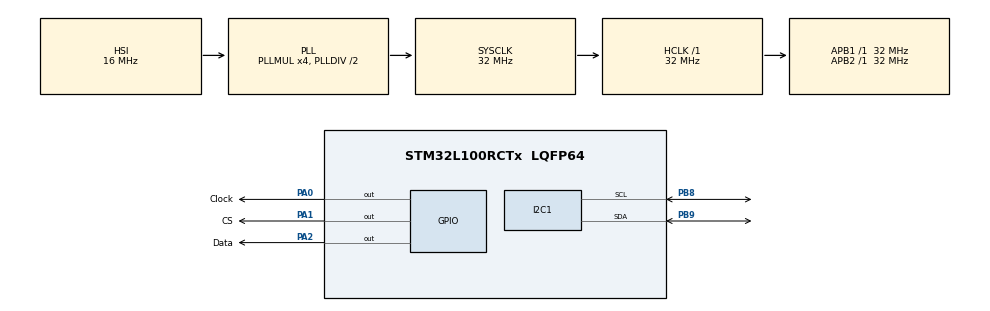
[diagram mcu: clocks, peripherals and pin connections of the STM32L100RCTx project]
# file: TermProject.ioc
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Mcu.Family=STM32L1
Mcu.Name=STM32L100RCTx
Mcu.Package=LQFP64
NVIC.PriorityGroup=NVIC_PRIORITYGROUP_4
PA0-WKUP1.GPIO_Label=Clock
PA0-WKUP1.Signal=GPIO_Output
PA1.GPIO_Label=CS
PA1.Signal=GPIO_Output
PA13.Mode=Serial_Wire
PA13.Signal=SYS_JTMS-SWDIO
PA14.Mode=Serial_Wire
PA14.Signal=SYS_JTCK-SWCLK
PA2.GPIO_Label=Data
PA2.Signal=GPIO_Output
PB8.Mode=I2C
PB8.Signal=I2C1_SCL
PB9.Mode=I2C
PB9.Signal=I2C1_SDA
PH0-OSC_IN.Mode=HSE-External-Oscillator
PH0-OSC_IN.Signal=RCC_OSC_IN
PH1-OSC_OUT.Mode=HSE-External-Oscillator
PH1-OSC_OUT.Signal=RCC_OSC_OUT
ProjectManager.HeapSize=0x200
ProjectManager.StackSize=0x400
ProjectManager.TargetToolchain=MDK-ARM V5.32
RCC.48MHZClocksFreq_Value=32000000
RCC.AHBFreq_Value=32000000
RCC.APB1Freq_Value=32000000
RCC.APB1TimFreq_Value=32000000
RCC.APB2Freq_Value=32000000
RCC.APB2TimFreq_Value=32000000
RCC.HCLKFreq_Value=32000000
RCC.HSE_VALUE=24000000
RCC.HSI_VALUE=16000000
RCC.LSE_VALUE=32768
RCC.MSI_VALUE=2097000
RCC.PLLMUL=RCC_PLL_MUL4
RCC.SYSCLKFreq_VALUE=32000000
RCC.SYSCLKSource=RCC_SYSCLKSOURCE_PLLCLK
RCC.VCOOutputFreq_Value=64000000
board=custom

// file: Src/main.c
/* USER CODE BEGIN Header */
/**
  ******************************************************************************
  * @file           : main.c
  * @brief          : Main program body
  ******************************************************************************
  * @attention
  *
  * Copyright (c) 2022 STMicroelectronics.
  * All rights reserved.
  *
  * This software is licensed under terms that can be found in the LICENSE file
  * in the root directory of this software component.
  * If no LICENSE file comes with this software, it is provided AS-IS.
  *
  ******************************************************************************
  */
/* USER CODE END Header */
#include "main.h"

/* USER CODE BEGIN PM */
void port_yaz(int s){
		GPIOA -> ODR = s;
}
void write_byte(uint8_t byte){
	for(int i =0; i<8; i++){
		HAL_GPIO_WritePin(GPIOA,GPIO_PIN_0,GPIO_PIN_RESET);
		HAL_GPIO_WritePin(GPIOA,GPIO_PIN_2,byte &0x80);
		byte = byte<<1;
		HAL_GPIO_WritePin(GPIOA,GPIO_PIN_0,GPIO_PIN_SET);
	}
}

void write_max(uint8_t address,uint8_t data){
		HAL_GPIO_WritePin(GPIOA,GPIO_PIN_1,GPIO_PIN_RESET);
		write_byte(address);
		write_byte(data);
		HAL_GPIO_WritePin(GPIOA,GPIO_PIN_1,GPIO_PIN_SET);
}
void max_init(void)
{
 write_max(0x09, 0x00);       //  no decoding
 write_max(0x0a, 0x03);       //  brightness intensity
 write_max(0x0b, 0x07);       //  scan limit = 8 LEDs
 write_max(0x0c, 0x01);       //  power down =0,normal mode = 1
 write_max(0x0f, 0x00);       //  no test display
}
/* USER CODE END PM */

I2C_HandleTypeDef hi2c1;

/* USER CODE BEGIN PV */

HAL_StatusTypeDef ret;

//MPU6050 degilkenleri
#define MPU6050_ADDR 0xD0
#define SMPLRT_DIV_REG 0x19
#define GYRO_CONFIG_REG 0x1B
#define ACCEL_CONFIG_REG 0x1C
#define ACCEL_XOUT_H_REG 0x3B
#define TEMP_OUT_H_REG 0x41
#define GYRO_XOUT_H_REG 0x43
#define PWR_MGMT_1_REG 0x6B
#define WHO_AM_I_REG 0x75
int16_t Accel_X_RAW= 0;
int16_t Accel_Y_RAW= 0;
int16_t Accel_Z_RAW= 0;

int16_t Gyro_X_RAW = 0;
int16_t Gyro_Y_RAW = 0;
int16_t Gyro_Z_RAW = 0;
float Ax, Ay, Az, Gx, Gy, Gz;
/* USER CODE END PV */

void SystemClock_Config(void);
static void MX_GPIO_Init(void);
static void MX_I2C1_Init(void);

/* USER CODE BEGIN 0 */
/*uint8_t disp1ayDeneme[48][8]={
{0xFF,0xFF,0xFF,0xFF,0xFF,0xFF,0xFF,0xFF},//FULL
{0xFE,0xFF,0xFF,0xFF,0xFF,0xFF,0xFF,0xFF},
{0xFC,0xFF,0xFF,0xFF,0xFF,0xFF,0xFF,0xFF},
{0xFC,0xFE,0xFF,0xFF,0xFF,0xFF,0xFF,0xFF},

{0x3C,0x42,0x42,0x42,0x42,0x42,0x42,0x3C},//0
{0x10,0x30,0x50,0x10,0x10,0x10,0x10,0x7c},//1
{0x7E,0x2,0x2,0x7E,0x40,0x40,0x40,0x7E},//2
{0x3E,0x2,0x2,0x3E,0x2,0x2,0x3E,0x0},//3
{0x8,0x18,0x28,0x48,0xFE,0x8,0x8,0x8},//4
{0x3C,0x20,0x20,0x3C,0x4,0x4,0x3C,0x0},//5
{0x3C,0x20,0x20,0x3C,0x24,0x24,0x3C,0x0},//6
{0x3E,0x22,0x4,0x8,0x8,0x8,0x8,0x8},//7
{0x0,0x3E,0x22,0x22,0x3E,0x22,0x22,0x3E},//8
{0x3E,0x22,0x22,0x3E,0x2,0x2,0x2,0x3E},//9
{0x18,0x24,0x42,0x42,0x7E,0x42,0x42,0x42},//A
{0x3C,0x22,0x22,0x3c,0x22,0x22,0x3C,0x0},//B
{0x3C,0x40,0x40,0x40,0x40,0x40,0x40,0x3C},//C
{0x7C,0x22,0x22,0x22,0x22,0x22,0x22,0x7C},//D
{0x7C,0x40,0x40,0x7C,0x40,0x40,0x40,0x7C},//E
{0x7C,0x40,0x40,0x7C,0x40,0x40,0x40,0x40},//F
{0x3C,0x40,0x40,0x40,0x4c,0x44,0x44,0x3C},//G
{0x44,0x44,0x44,0x7C,0x44,0x44,0x44,0x44},//H
{0x7C,0x10,0x10,0x10,0x10,0x10,0x10,0x7C},//I
{0x3C,0x8,0x8,0x8,0x8,0x8,0x48,0x30},//J
{0x0,0x24,0x28,0x30,0x20,0x30,0x28,0x24},//K
{0x40,0x40,0x40,0x40,0x40,0x40,0x40,0x7C},//L
{0x81,0xC3,0xA5,0x99,0x81,0x81,0x81,0x81},//M
{0x0,0x42,0x62,0x52,0x4A,0x46,0x42,0x0},//N
{0x3C,0x42,0x42,0x42,0x42,0x42,0x42,0x3C},//O
{0x3C,0x22,0x22,0x22,0x3C,0x20,0x20,0x20},//P
{0x1C,0x22,0x22,0x22,0x22,0x26,0x22,0x1D},//Q
{0x3C,0x22,0x22,0x22,0x3C,0x24,0x22,0x21},//R
{0x0,0x1E,0x20,0x20,0x3E,0x2,0x2,0x3C},//S
{0x0,0x3E,0x8,0x8,0x8,0x8,0x8,0x8},//T
{0x42,0x42,0x42,0x42,0x42,0x42,0x22,0x1C},//U
{0x42,0x42,0x42,0x42,0x42,0x42,0x24,0x18},//V
{0x0,0x49,0x49,0x49,0x49,0x2A,0x1C,0x0},//W
{0x0,0x41,0x22,0x14,0x8,0x14,0x22,0x41},//X
{0x41,0x22,0x14,0x8,0x8,0x8,0x8,0x8},//Y
{0x0,0x7F,0x2,0x4,0x8,0x10,0x20,0x7F},//Z
};*/

uint8_t disp1ay[4][8]={
{0xFF,0xFF,0xFF,0xFF,0xFF,0xFF,0xFF,0xFF},//FULL
{0xFE,0xFF,0xFF,0xFF,0xFF,0xFF,0xFF,0xFF},
{0xFC,0xFF,0xFF,0xFF,0xFF,0xFF,0xFF,0xFF},
{0xFC,0xFE,0xFF,0xFF,0xFF,0xFF,0xFF,0xFF}

};
//Burada bir algorimta gelistirme uzerinde durulabilir. Tek tek yazmaktansa
uint8_t disp1ay2 [24][8] =
{
	{0x1,0x0,0x0,0x0,0x0,0x0,0x0,0x0},
	{0x0,0x2,0x0,0x0,0x0,0x0,0x0,0x0},
	{0x0,0x0,0x4,0x0,0x0,0x0,0x0,0x0},
	{0x0,0x0,0x0,0x8,0x0,0x0,0x0,0x0},
	{0x0,0x0,0x0,0x0,0x10,0x0,0x0,0x0},
	{0x0,0x0,0x0,0x0,0x0,0x20,0x0,0x0},
	{0x0,0x0,0x0,0x0,0x0,0x0,0x40,0x0},
	{0x0,0x0,0x0,0x0,0x0,0x0,0x0,0x80},

	{0x1,0x0,0x0,0x0,0x0,0x0,0x0,0x80},
	{0x0,0x2,0x0,0x0,0x0,0x0,0x0,0x80},
	{0x0,0x0,0x4,0x0,0x0,0x0,0x0,0x80},
	{0x0,0x0,0x0,0x8,0x0,0x0,0x0,0x80},
	{0x0,0x0,0x0,0x0,0x10,0x0,0x0,0x80},
	{0x0,0x0,0x0,0x0,0x0,0x20,0x0,0x80},
	{0x0,0x0,0x0,0x0,0x0,0x0,0x40,0x80},
	{0x0,0x0,0x0,0x0,0x0,0x0,0x0,0xC0},

	{0x1,0x0,0x0,0x0,0x0,0x0,0x0,0xC0},
	{0x0,0x2,0x0,0x0,0x0,0x0,0x0,0xC0},
	{0x0,0x0,0x4,0x0,0x0,0x0,0x0,0xC0},
	{0x0,0x0,0x0,0x8,0x0,0x0,0x0,0xC0},
	{0x0,0x0,0x0,0x0,0x10,0x0,0x0,0xC0},
	{0x0,0x0,0x0,0x0,0x0,0x20,0x0,0xC0},
	{0x0,0x0,0x0,0x0,0x0,0x0,0x40,0xC0},
	{0x0,0x0,0x0,0x0,0x0,0x0,0x80,0xC0},

	/*{0b00000001,0b00000000,0b00000000,0b00000000,0b00000000,0b00000000,0b00000000,0b10000000},
	{0b00000000,0b00000010,0b00000000,0b00000000,0b00000000,0b00000000,0b00000000,0b10000000},
	{0b00000000,0b00000000,0b00000100,0b00000000,0b00000000,0b00000000,0b00000000,0b10000000},
	{0b00000000,0b00000000,0b00000000,0b00001000,0b00000000,0b00000000,0b00000000,0b10000000},
	{0b00000000,0b00000000,0b00000000,0b00000000,0b00010000,0b00000000,0b00000000,0b10000000},
	{0b00000000,0b00000000,0b00000000,0b00000000,0b00000000,0b00100000,0b00000000,0b10000000},
	{0b00000000,0b00000000,0b00000000,0b00000000,0b00000000,0b00000000,0b01000000,0b10000000},
	{0b00000000,0b00000000,0b00000000,0b00000000,0b00000000,0b00000000,0b11000000,0b11000000}*/
};

//----------------------------------------------------
void MPU6050_Init(void){
 	uint8_t check, Data;

 	// check device id
 	HAL_I2C_Mem_Read(&hi2c1, MPU6050_ADDR, WHO_AM_I_REG,1, &check, 1, 1000);

	if (check == 0x68){ // boyle bir cihaz varsa
 	 	    // power management regisgter 0x6b power up
 	 	 	 	Data = 0;
 	 	 	 	HAL_I2C_Mem_Write(&hi2c1, MPU6050_ADDR,
					PWR_MGMT_1_REG,1, &Data, 1, 1000);
 	 	 	 	//
 	 	 	 	Data = 0x07;
 	 	 	 	HAL_I2C_Mem_Write(&hi2c1, MPU6050_ADDR,
					SMPLRT_DIV_REG,1, &Data, 1, 1000);
 	 	 	 	// set acc. meter configuration in ACCEL_CONFIG reg.
 	 	 	 	Data = 0x00;
 	 	 	 	HAL_I2C_Mem_Write(&hi2c1, MPU6050_ADDR,
					ACCEL_CONFIG_REG,1, &Data, 1, 1000);

 	 	 	 	// Set Gyroscopic configuration in GYRO_CONFIG Register
 	 	 	 	// XG_ST=0,YG_ST=0,ZG_ST=0, FS_SEL=0 -> ? 250 ?/s
 	 	 	 	Data = 0x00;
 	 	 	 	HAL_I2C_Mem_Write(&hi2c1, MPU6050_ADDR,
					GYRO_CONFIG_REG, 1, &Data, 1, 1000);
 	}
}
void MPU6050_Read_Accel (void)
{
 	uint8_t Rx_data[6];
 	// Read 6 BYTES of data starting from ACCEL_XOUT_H register
 	HAL_I2C_Mem_Read (&hi2c1, MPU6050_ADDR, ACCEL_XOUT_H_REG,1, Rx_data, 6, 1000);
 	Accel_X_RAW = (int16_t)(Rx_data[0] << 8 | Rx_data [1]);
 	Accel_Y_RAW = (int16_t)(Rx_data[2] << 8 | Rx_data [3]);
 	Accel_Z_RAW = (int16_t)(Rx_data[4] << 8 | Rx_data [5]);
 	Ax = Accel_X_RAW/16384.0;
 	Ay = Accel_Y_RAW/16384.0;
 	Az = Accel_Z_RAW/16384.0;
 	}
 void MPU6050_Read_Gyro (void)
{
 	uint8_t Rx_data[6];
 	// read 6 bytes of data starting from GYRO_XOUT_H reg.
 	 	HAL_I2C_Mem_Read (&hi2c1, MPU6050_ADDR, GYRO_XOUT_H_REG,1, Rx_data, 6, 1000);

 	 	Gyro_X_RAW = (int16_t)(Rx_data[0] << 8 | Rx_data [1]);
 	 	Gyro_Y_RAW = (int16_t)(Rx_data[2] << 8 | Rx_data [3]);
 	 	Gyro_Z_RAW = (int16_t)(Rx_data[4] << 8 | Rx_data [5]);

 	  Gx = Gyro_X_RAW/131.0;
 	 	Gy = Gyro_Y_RAW/131.0;
 	 	Gz = Gyro_Z_RAW/131.0;
}

/* USER CODE END 0 */

int main(void)
{

  /* MCU Configuration--------------------------------------------------------*/

  /* Reset of all peripherals, Initializes the Flash interface and the Systick. */
  HAL_Init();

  /* Configure the system clock */
  SystemClock_Config();

  /* Initialize all configured peripherals */
  MX_GPIO_Init();
  MX_I2C1_Init();
  /* USER CODE BEGIN 2 */
	max_init();
//	MPU6050_Init();
	//uint8_t MPUtest;
	//HAL_I2C_Mem_Read(&hi2c1,MPU6050_ADDR,WHO_AM_I_REG,1,&MPUtest,1,1000);
  /* USER CODE END 2 */

  /* Infinite loop */
  while (1)
  {

    /* USER CODE BEGIN 3 */
		/*HAL_GPIO_WritePin(GPIOA,GPIO_PIN_0,GPIO_PIN_RESET);
		HAL_GPIO_WritePin(GPIOA,GPIO_PIN_1,GPIO_PIN_RESET);
		port_yaz(0x01);
		HAL_GPIO_WritePin(GPIOA,GPIO_PIN_1,GPIO_PIN_SET);

		HAL_GPIO_WritePin(GPIOA,GPIO_PIN_0,GPIO_PIN_RESET);
		HAL_GPIO_WritePin(GPIOA,GPIO_PIN_1,GPIO_PIN_RESET);
		port_yaz(0x07);
		HAL_GPIO_WritePin(GPIOA,GPIO_PIN_1,GPIO_PIN_SET);

		HAL_GPIO_WritePin(GPIOA,GPIO_PIN_0,GPIO_PIN_SET);*/
		for (int j=0; j<24; j++)
		{
			for (int i=1; i<9; i++)
			{
			//write_max (i , disp1ay[j][i-1]);
				write_max (i , disp1ay2[j][i-1]);
				MPU6050_Read_Accel();
				MPU6050_Read_Gyro();
			}

			HAL_Delay (700);

			}
		}
	//	HAL_Delay(3000);

  /* USER CODE END 3 */
}

void SystemClock_Config(void)
{
  RCC_OscInitTypeDef RCC_OscInitStruct = {0};
  RCC_ClkInitTypeDef RCC_ClkInitStruct = {0};

  /** Configure the main internal regulator output voltage
  */
  __HAL_PWR_VOLTAGESCALING_CONFIG(PWR_REGULATOR_VOLTAGE_SCALE1);
  /** Initializes the RCC Oscillators according to the specified parameters
  * in the RCC_OscInitTypeDef structure.
  */
  RCC_OscInitStruct.OscillatorType = RCC_OSCILLATORTYPE_HSI;
  RCC_OscInitStruct.HSIState = RCC_HSI_ON;
  RCC_OscInitStruct.HSICalibrationValue = RCC_HSICALIBRATION_DEFAULT;
  RCC_OscInitStruct.PLL.PLLState = RCC_PLL_ON;
  RCC_OscInitStruct.PLL.PLLSource = RCC_PLLSOURCE_HSI;
  RCC_OscInitStruct.PLL.PLLMUL = RCC_PLL_MUL4;
  RCC_OscInitStruct.PLL.PLLDIV = RCC_PLL_DIV2;
  if (HAL_RCC_OscConfig(&RCC_OscInitStruct) != HAL_OK)
  {
    Error_Handler();
  }
  /** Initializes the CPU, AHB and APB buses clocks
  */
  RCC_ClkInitStruct.ClockType = RCC_CLOCKTYPE_HCLK|RCC_CLOCKTYPE_SYSCLK
                              |RCC_CLOCKTYPE_PCLK1|RCC_CLOCKTYPE_PCLK2;
  RCC_ClkInitStruct.SYSCLKSource = RCC_SYSCLKSOURCE_PLLCLK;
  RCC_ClkInitStruct.AHBCLKDivider = RCC_SYSCLK_DIV1;
  RCC_ClkInitStruct.APB1CLKDivider = RCC_HCLK_DIV1;
  RCC_ClkInitStruct.APB2CLKDivider = RCC_HCLK_DIV1;

  if (HAL_RCC_ClockConfig(&RCC_ClkInitStruct, FLASH_LATENCY_1) != HAL_OK)
  {
    Error_Handler();
  }
}

static void MX_I2C1_Init(void)
{

  hi2c1.Instance = I2C1;
  hi2c1.Init.ClockSpeed = 100000;
  hi2c1.Init.DutyCycle = I2C_DUTYCYCLE_2;
  hi2c1.Init.OwnAddress1 = 0;
  hi2c1.Init.AddressingMode = I2C_ADDRESSINGMODE_7BIT;
  hi2c1.Init.DualAddressMode = I2C_DUALADDRESS_DISABLE;
  hi2c1.Init.OwnAddress2 = 0;
  hi2c1.Init.GeneralCallMode = I2C_GENERALCALL_DISABLE;
  hi2c1.Init.NoStretchMode = I2C_NOSTRETCH_DISABLE;
  if (HAL_I2C_Init(&hi2c1) != HAL_OK)
  {
    Error_Handler();
  }

}

static void MX_GPIO_Init(void)
{
  GPIO_InitTypeDef GPIO_InitStruct = {0};

  /* GPIO Ports Clock Enable */
  __HAL_RCC_GPIOH_CLK_ENABLE();
  __HAL_RCC_GPIOA_CLK_ENABLE();
  __HAL_RCC_GPIOB_CLK_ENABLE();

  /*Configure GPIO pin Output Level */
  HAL_GPIO_WritePin(GPIOA, Clock_Pin|CS_Pin|Data_Pin, GPIO_PIN_RESET);

  /*Configure GPIO pins : Clock_Pin CS_Pin Data_Pin */
  GPIO_InitStruct.Pin = Clock_Pin|CS_Pin|Data_Pin;
  GPIO_InitStruct.Mode = GPIO_MODE_OUTPUT_PP;
  GPIO_InitStruct.Pull = GPIO_NOPULL;
  GPIO_InitStruct.Speed = GPIO_SPEED_FREQ_LOW;
  HAL_GPIO_Init(GPIOA, &GPIO_InitStruct);

}

void Error_Handler(void)
{
  __disable_irq();
  while (1)
  {
  }
}
